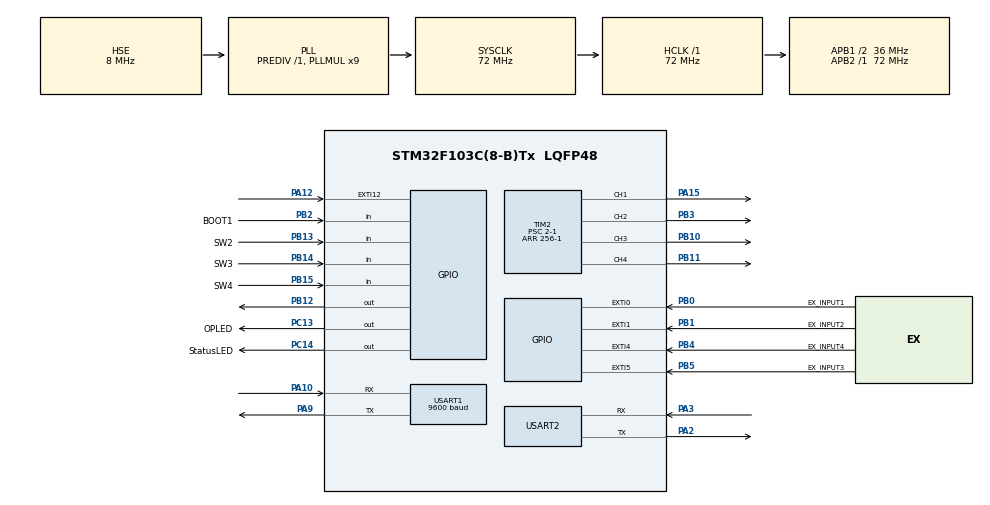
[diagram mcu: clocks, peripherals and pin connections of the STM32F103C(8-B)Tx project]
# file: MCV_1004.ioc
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IWDG.Prescaler=IWDG_PRESCALER_16
Mcu.Family=STM32F1
Mcu.Name=STM32F103C(8-B)Tx
Mcu.Package=LQFP48
NVIC.EXTI0_IRQn=true\:0\:0\:true\:false\:true\:true\:true\:true
NVIC.EXTI15_10_IRQn=true\:0\:0\:false\:false\:true\:true\:true\:true
NVIC.EXTI1_IRQn=true\:0\:0\:true\:false\:true\:true\:true\:true
NVIC.EXTI4_IRQn=true\:0\:0\:false\:false\:true\:true\:true\:true
NVIC.EXTI9_5_IRQn=true\:0\:0\:true\:false\:true\:true\:true\:true
NVIC.PriorityGroup=NVIC_PRIORITYGROUP_4
NVIC.TIM1_UP_IRQn=true\:0\:0\:false\:false\:true\:true\:true\:true
NVIC.TIM2_IRQn=true\:0\:0\:false\:false\:true\:true\:true\:true
NVIC.TIM3_IRQn=true\:0\:0\:false\:false\:true\:true\:true\:true
NVIC.TIM4_IRQn=true\:0\:0\:false\:false\:true\:true\:true\:true
NVIC.USART1_IRQn=true\:0\:0\:false\:false\:true\:true\:true\:true
NVIC.USART2_IRQn=true\:0\:0\:false\:false\:true\:true\:true\:true
PA10.Mode=Asynchronous
PA10.Signal=USART1_RX
PA12.Signal=GPXTI12
PA13.Mode=Serial_Wire
PA13.Signal=SYS_JTMS-SWDIO
PA14.Mode=Serial_Wire
PA14.Signal=SYS_JTCK-SWCLK
PA15.Signal=S_TIM2_CH1_ETR
PA2.Mode=Asynchronous
PA2.Signal=USART2_TX
PA3.Mode=Asynchronous
PA3.Signal=USART2_RX
PA9.Mode=Asynchronous
PA9.Signal=USART1_TX
PB0.GPIO_Label=EX_INPUT1
PB0.GPIO_ModeDefaultEXTI=GPIO_MODE_IT_FALLING
PB0.Signal=GPXTI0
PB1.GPIO_Label=EX_INPUT2
PB1.GPIO_ModeDefaultEXTI=GPIO_MODE_IT_FALLING
PB1.GPIO_PuPd=GPIO_PULLUP
PB1.Signal=GPXTI1
PB10.Signal=S_TIM2_CH3
PB11.Signal=S_TIM2_CH4
PB12.GPIO_PuPd=GPIO_PULLUP
PB12.Signal=GPIO_Output
PB13.GPIO_Label=SW2
PB13.GPIO_PuPd=GPIO_PULLUP
PB13.Signal=GPIO_Input
PB14.GPIO_Label=SW3
PB14.GPIO_PuPd=GPIO_PULLUP
PB14.Signal=GPIO_Input
PB15.GPIO_Label=SW4
PB15.GPIO_PuPd=GPIO_PULLUP
PB15.Signal=GPIO_Input
PB2.GPIO_Label=BOOT1
PB2.GPIO_PuPd=GPIO_PULLDOWN
PB2.Signal=GPIO_Input
PB3.Signal=S_TIM2_CH2
PB4.GPIO_Label=EX_INPUT4
PB4.GPIO_ModeDefaultEXTI=GPIO_MODE_IT_FALLING
PB4.Signal=GPXTI4
PB5.GPIO_Label=EX_INPUT3
PB5.GPIO_ModeDefaultEXTI=GPIO_MODE_IT_FALLING
PB5.GPIO_PuPd=GPIO_PULLUP
PB5.Signal=GPXTI5
PC13-TAMPER-RTC.GPIO_Label=OPLED
PC13-TAMPER-RTC.Signal=GPIO_Output
PC14-OSC32_IN.GPIO_Label=StatusLED
PC14-OSC32_IN.Signal=GPIO_Output
PD0-OSC_IN.Mode=HSE-External-Oscillator
PD0-OSC_IN.Signal=RCC_OSC_IN
PD1-OSC_OUT.Mode=HSE-External-Oscillator
PD1-OSC_OUT.Signal=RCC_OSC_OUT
ProjectManager.HeapSize=0x200
ProjectManager.StackSize=0x400
ProjectManager.TargetToolchain=STM32CubeIDE
RCC.AHBFreq_Value=72000000
RCC.APB1CLKDivider=RCC_HCLK_DIV2
RCC.APB1Freq_Value=36000000
RCC.APB1TimFreq_Value=72000000
RCC.APB2Freq_Value=72000000
RCC.APB2TimFreq_Value=72000000
RCC.HCLKFreq_Value=72000000
RCC.PLLMUL=RCC_PLL_MUL9
RCC.PLLSourceVirtual=RCC_PLLSOURCE_HSE
RCC.SYSCLKFreq_VALUE=72000000
RCC.SYSCLKSource=RCC_SYSCLKSOURCE_PLLCLK
RCC.USBFreq_Value=72000000
SH.S_TIM2_CH1_ETR.0=TIM2_CH1,PWM Generation1 CH1
SH.S_TIM2_CH2.0=TIM2_CH2,PWM Generation2 CH2
SH.S_TIM2_CH3.0=TIM2_CH3,PWM Generation3 CH3
SH.S_TIM2_CH4.0=TIM2_CH4,PWM Generation4 CH4
TIM1.AutoReloadPreload=TIM_AUTORELOAD_PRELOAD_ENABLE
TIM1.Period=10-1
TIM1.Prescaler=72-1
TIM2.Channel-PWM\ Generation1\ CH1=TIM_CHANNEL_1
TIM2.Channel-PWM\ Generation2\ CH2=TIM_CHANNEL_2
TIM2.Channel-PWM\ Generation3\ CH3=TIM_CHANNEL_3
TIM2.Channel-PWM\ Generation4\ CH4=TIM_CHANNEL_4
TIM2.OCFastMode_PWM-PWM\ Generation1\ CH1=TIM_OCFAST_ENABLE
TIM2.OCFastMode_PWM-PWM\ Generation2\ CH2=TIM_OCFAST_ENABLE
TIM2.OCFastMode_PWM-PWM\ Generation3\ CH3=TIM_OCFAST_ENABLE
TIM2.OCFastMode_PWM-PWM\ Generation4\ CH4=TIM_OCFAST_ENABLE
TIM2.Period=256-1
TIM2.Prescaler=2-1
TIM2.Pulse-PWM\ Generation1\ CH1=500
TIM2.Pulse-PWM\ Generation2\ CH2=500
TIM2.Pulse-PWM\ Generation3\ CH3=500
TIM2.Pulse-PWM\ Generation4\ CH4=500
TIM2.TIM_MasterOutputTrigger=TIM_TRGO_UPDATE
TIM3.Period=10-1
TIM3.Prescaler=72-1
TIM4.Period=10-1
TIM4.Prescaler=72-1
USART1.BaudRate=9600
USART1.VirtualMode=VM_ASYNC
USART2.VirtualMode=VM_ASYNC
VP_IWDG_VS_IWDG.Mode=IWDG_Activate
VP_TIM1_VS_ClockSourceINT.Mode=Internal
VP_TIM2_VS_ClockSourceINT.Mode=Internal
VP_TIM3_VS_ClockSourceINT.Mode=Internal
VP_TIM4_VS_ClockSourceINT.Mode=Internal
board=custom

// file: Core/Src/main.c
/* USER CODE BEGIN Header */
/**
  ******************************************************************************
  * @file           : main.c
  * @brief          : Main program body
  ******************************************************************************
  * @attention
  *
  * Copyright (c) 2024 STMicroelectronics.
  * All rights reserved.
  *
  * This software is licensed under terms that can be found in the LICENSE file
  * in the root directory of this software component.
  * If no LICENSE file comes with this software, it is provided AS-IS.
  *
  ******************************************************************************
  */
/* USER CODE END Header */
#include "main.h"

/* USER CODE BEGIN Includes */
#include "apps.h"
#include "uart_proc.h"
#include "timer_ctrl.h"
/* USER CODE END Includes */

/* USER CODE BEGIN PTD */
typedef  void (*pFunction)(void);
/* USER CODE END PTD */

/* USER CODE BEGIN PD */
#define SYSTEMBOOT_ADDR		0x1FFFF000
/* USER CODE END PD */

/* USER CODE BEGIN PM */
#if DAEGON_MODEL
//#define VERSION 1.0			// First Release
#define VERSION 2.0			// Final Release
#else
//#define VERSION 1.0		// First Release
//#define VERSION 1.1			// 1.pc control uart modify 115200->9600 . 2. pc slide bar function fixed
//#define VERSION 1.2			// Resolve jump System boot loader
//#define VERSION 1.3			// modify strobe test mode & Final Release
#define VERSION 1.4			// watchdog enable (1.6sec) & Request PWM Value initialize
#endif
/* USER CODE END PM */

IWDG_HandleTypeDef hiwdg;

TIM_HandleTypeDef htim1;
TIM_HandleTypeDef htim2;
TIM_HandleTypeDef htim3;
TIM_HandleTypeDef htim4;

UART_HandleTypeDef huart1;
UART_HandleTypeDef huart2;

void SystemClock_Config(void);
static void MX_GPIO_Init(void);
static void MX_TIM2_Init(void);
static void MX_USART1_UART_Init(void);
static void MX_USART2_UART_Init(void);
static void MX_TIM1_Init(void);
static void MX_TIM3_Init(void);
static void MX_TIM4_Init(void);
static void MX_IWDG_Init(void);

/* USER CODE BEGIN 0 */
static void Delay_us(volatile uint32_t microseconds)
{
  uint32_t clk_cycle_start = DWT->CYCCNT;
  microseconds *= (HAL_RCC_GetHCLKFreq() / 1000000);
  while ((DWT->CYCCNT - clk_cycle_start) < microseconds);
}

uint32_t Delay_Init(void)
{
	CoreDebug->DEMCR &= ~CoreDebug_DEMCR_TRCENA_Msk; // ~0x01000000;
	CoreDebug->DEMCR |=  CoreDebug_DEMCR_TRCENA_Msk; // 0x01000000;
	DWT->CTRL &= ~DWT_CTRL_CYCCNTENA_Msk; //~0x00000001;
	DWT->CTRL |=  DWT_CTRL_CYCCNTENA_Msk; //0x00000001;
	DWT->CYCCNT = 0;
	asm volatile("NOP");
	asm volatile("NOP");
	asm volatile("NOP");
	if(DWT->CYCCNT)
	{
		return 0;
	}
	else
	{
		return 1; /*clock cycle counter not started*/
	}
}

void HardwareInitailized(void)
{
	Delay_Init();
	Delay_us(10);
}

void JumpToBootloader(void)
{
	volatile uint32_t JumpAddress = *(__IO uint32_t*)(SYSTEMBOOT_ADDR+4);
	pFunction Jump_To_Application = (pFunction)JumpAddress;

	HAL_GPIO_WritePin(BOOT1_GPIO_Port, BOOT1_Pin, GPIO_PIN_RESET);
	HAL_Delay(1);

    HAL_UART_DeInit(&huart2);
    HAL_UART_DeInit(&huart1);
    HAL_UART_MspDeInit(&huart2);
    HAL_UART_MspDeInit(&huart1);
    HAL_RCC_DeInit();

#if 0
    HAL_SuspendTick();
    HAL_DeInit();
#else
    SysTick->CTRL = 0;
    SysTick->LOAD = 0;
    SysTick->VAL = 0;
#endif
//    __disable_irq();

    __set_MSP(*(__IO uint32_t *)SYSTEMBOOT_ADDR);
    Jump_To_Application();
}

/* USER CODE END 0 */

int main(void)
{

  /* USER CODE BEGIN 1 */
#if DAEGON_MODEL
	int error;
#endif
  /* USER CODE END 1 */

  /* MCU Configuration--------------------------------------------------------*/

  /* Reset of all peripherals, Initializes the Flash interface and the Systick. */
  HAL_Init();

  /* Configure the system clock */
  SystemClock_Config();

  /* Initialize all configured peripherals */
  MX_GPIO_Init();
  MX_TIM2_Init();
  MX_USART1_UART_Init();
  MX_USART2_UART_Init();
  MX_TIM1_Init();
  MX_TIM3_Init();
  MX_TIM4_Init();
  MX_IWDG_Init();
  /* USER CODE BEGIN 2 */
  uart_proc_init();
  timer_ctrl_init();
  HardwareInitailized();
  apps_dev_init();
#if DAEGON_MODEL // already start..
  error = HAL_TIM_PWM_Start(&htim2, TIM_CHANNEL_1);
  if(error !=HAL_OK){
	  Printf("PWM CH1 Start Error!![%d]\r\n", error);
  }
  error = HAL_TIM_PWM_Start(&htim2, TIM_CHANNEL_2);
  if(error != HAL_OK){
	  Printf("PWM CH2 Start Error!![%d]\r\n", error);
  }
  error = HAL_TIM_PWM_Start(&htim2, TIM_CHANNEL_3);
  if(error != HAL_OK){
	  Printf("PWM CH3 Start Error!![%d]\r\n", error);
  }
  error = HAL_TIM_PWM_Start(&htim2, TIM_CHANNEL_4);
  if(error != HAL_OK){
	  Printf("PWM CH4 Start Error!![%d]\r\n", error);
  }
#endif
  /* USER CODE END 2 */

  /* Infinite loop */
  /* USER CODE BEGIN WHILE */
  // already start pwm_out in apps_dev_init()
//	HAL_TIM_PWM_Start(&htim2, TIM_CHANNEL_1);
//	HAL_TIM_PWM_Start(&htim2, TIM_CHANNEL_2);
//	HAL_TIM_PWM_Start(&htim2, TIM_CHANNEL_3);
//	HAL_TIM_PWM_Start(&htim2, TIM_CHANNEL_4);
  while (1)
  {
	  apps_proc();
    /* USER CODE END WHILE */

    /* USER CODE BEGIN 3 */
  }
  return 0;
  /* USER CODE END 3 */
}

void SystemClock_Config(void)
{
  RCC_OscInitTypeDef RCC_OscInitStruct = {0};
  RCC_ClkInitTypeDef RCC_ClkInitStruct = {0};

  /** Initializes the RCC Oscillators according to the specified parameters
  * in the RCC_OscInitTypeDef structure.
  */
  RCC_OscInitStruct.OscillatorType = RCC_OSCILLATORTYPE_LSI|RCC_OSCILLATORTYPE_HSE;
  RCC_OscInitStruct.HSEState = RCC_HSE_ON;
  RCC_OscInitStruct.HSEPredivValue = RCC_HSE_PREDIV_DIV1;
  RCC_OscInitStruct.HSIState = RCC_HSI_ON;
  RCC_OscInitStruct.LSIState = RCC_LSI_ON;
  RCC_OscInitStruct.PLL.PLLState = RCC_PLL_ON;
  RCC_OscInitStruct.PLL.PLLSource = RCC_PLLSOURCE_HSE;
  RCC_OscInitStruct.PLL.PLLMUL = RCC_PLL_MUL9;
  if (HAL_RCC_OscConfig(&RCC_OscInitStruct) != HAL_OK)
  {
    Error_Handler();
  }

  /** Initializes the CPU, AHB and APB buses clocks
  */
  RCC_ClkInitStruct.ClockType = RCC_CLOCKTYPE_HCLK|RCC_CLOCKTYPE_SYSCLK
                              |RCC_CLOCKTYPE_PCLK1|RCC_CLOCKTYPE_PCLK2;
  RCC_ClkInitStruct.SYSCLKSource = RCC_SYSCLKSOURCE_PLLCLK;
  RCC_ClkInitStruct.AHBCLKDivider = RCC_SYSCLK_DIV1;
  RCC_ClkInitStruct.APB1CLKDivider = RCC_HCLK_DIV2;
  RCC_ClkInitStruct.APB2CLKDivider = RCC_HCLK_DIV1;

  if (HAL_RCC_ClockConfig(&RCC_ClkInitStruct, FLASH_LATENCY_2) != HAL_OK)
  {
    Error_Handler();
  }
}

static void MX_IWDG_Init(void)
{

  hiwdg.Instance = IWDG;
  hiwdg.Init.Prescaler = IWDG_PRESCALER_16;
  hiwdg.Init.Reload = 4095;
  if (HAL_IWDG_Init(&hiwdg) != HAL_OK)
  {
    Error_Handler();
  }

}

static void MX_TIM1_Init(void)
{

  TIM_ClockConfigTypeDef sClockSourceConfig = {0};
  TIM_MasterConfigTypeDef sMasterConfig = {0};

  htim1.Instance = TIM1;
  htim1.Init.Prescaler = 72-1;
  htim1.Init.CounterMode = TIM_COUNTERMODE_UP;
  htim1.Init.Period = 10-1;
  htim1.Init.ClockDivision = TIM_CLOCKDIVISION_DIV1;
  htim1.Init.RepetitionCounter = 0;
  htim1.Init.AutoReloadPreload = TIM_AUTORELOAD_PRELOAD_ENABLE;
  if (HAL_TIM_Base_Init(&htim1) != HAL_OK)
  {
    Error_Handler();
  }
  sClockSourceConfig.ClockSource = TIM_CLOCKSOURCE_INTERNAL;
  if (HAL_TIM_ConfigClockSource(&htim1, &sClockSourceConfig) != HAL_OK)
  {
    Error_Handler();
  }
  sMasterConfig.MasterOutputTrigger = TIM_TRGO_RESET;
  sMasterConfig.MasterSlaveMode = TIM_MASTERSLAVEMODE_DISABLE;
  if (HAL_TIMEx_MasterConfigSynchronization(&htim1, &sMasterConfig) != HAL_OK)
  {
    Error_Handler();
  }

}

static void MX_TIM2_Init(void)
{

  TIM_ClockConfigTypeDef sClockSourceConfig = {0};
  TIM_MasterConfigTypeDef sMasterConfig = {0};
  TIM_OC_InitTypeDef sConfigOC = {0};

  /* USER CODE BEGIN TIM2_Init 1 */
#if 0
  // PWM 10Khz
  htim2.Init.Prescaler = 72-1;
  htim2.Init.Period = 100-1;
  //PWM 140
  htim2.Init.Prescaler = 2-1;
  htim2.Init.Period = 256-1;
#endif
  /* USER CODE END TIM2_Init 1 */
  htim2.Instance = TIM2;
  htim2.Init.Prescaler = 2-1;
  htim2.Init.CounterMode = TIM_COUNTERMODE_UP;
  htim2.Init.Period = 256-1;
  htim2.Init.ClockDivision = TIM_CLOCKDIVISION_DIV1;
  htim2.Init.AutoReloadPreload = TIM_AUTORELOAD_PRELOAD_DISABLE;
  if (HAL_TIM_Base_Init(&htim2) != HAL_OK)
  {
    Error_Handler();
  }
  sClockSourceConfig.ClockSource = TIM_CLOCKSOURCE_INTERNAL;
  if (HAL_TIM_ConfigClockSource(&htim2, &sClockSourceConfig) != HAL_OK)
  {
    Error_Handler();
  }
  if (HAL_TIM_PWM_Init(&htim2) != HAL_OK)
  {
    Error_Handler();
  }
  sMasterConfig.MasterOutputTrigger = TIM_TRGO_UPDATE;
  sMasterConfig.MasterSlaveMode = TIM_MASTERSLAVEMODE_DISABLE;
  if (HAL_TIMEx_MasterConfigSynchronization(&htim2, &sMasterConfig) != HAL_OK)
  {
    Error_Handler();
  }
  sConfigOC.OCMode = TIM_OCMODE_PWM1;
  sConfigOC.Pulse = 500;
  sConfigOC.OCPolarity = TIM_OCPOLARITY_HIGH;
  sConfigOC.OCFastMode = TIM_OCFAST_ENABLE;
  if (HAL_TIM_PWM_ConfigChannel(&htim2, &sConfigOC, TIM_CHANNEL_1) != HAL_OK)
  {
    Error_Handler();
  }
  if (HAL_TIM_PWM_ConfigChannel(&htim2, &sConfigOC, TIM_CHANNEL_2) != HAL_OK)
  {
    Error_Handler();
  }
  if (HAL_TIM_PWM_ConfigChannel(&htim2, &sConfigOC, TIM_CHANNEL_3) != HAL_OK)
  {
    Error_Handler();
  }
  if (HAL_TIM_PWM_ConfigChannel(&htim2, &sConfigOC, TIM_CHANNEL_4) != HAL_OK)
  {
    Error_Handler();
  }
  HAL_TIM_MspPostInit(&htim2);

}

static void MX_TIM3_Init(void)
{

  TIM_ClockConfigTypeDef sClockSourceConfig = {0};
  TIM_MasterConfigTypeDef sMasterConfig = {0};

  htim3.Instance = TIM3;
  htim3.Init.Prescaler = 72-1;
  htim3.Init.CounterMode = TIM_COUNTERMODE_UP;
  htim3.Init.Period = 10-1;
  htim3.Init.ClockDivision = TIM_CLOCKDIVISION_DIV1;
  htim3.Init.AutoReloadPreload = TIM_AUTORELOAD_PRELOAD_DISABLE;
  if (HAL_TIM_Base_Init(&htim3) != HAL_OK)
  {
    Error_Handler();
  }
  sClockSourceConfig.ClockSource = TIM_CLOCKSOURCE_INTERNAL;
  if (HAL_TIM_ConfigClockSource(&htim3, &sClockSourceConfig) != HAL_OK)
  {
    Error_Handler();
  }
  sMasterConfig.MasterOutputTrigger = TIM_TRGO_RESET;
  sMasterConfig.MasterSlaveMode = TIM_MASTERSLAVEMODE_DISABLE;
  if (HAL_TIMEx_MasterConfigSynchronization(&htim3, &sMasterConfig) != HAL_OK)
  {
    Error_Handler();
  }

}

static void MX_TIM4_Init(void)
{

  TIM_ClockConfigTypeDef sClockSourceConfig = {0};
  TIM_MasterConfigTypeDef sMasterConfig = {0};

  htim4.Instance = TIM4;
  htim4.Init.Prescaler = 72-1;
  htim4.Init.CounterMode = TIM_COUNTERMODE_UP;
  htim4.Init.Period = 10-1;
  htim4.Init.ClockDivision = TIM_CLOCKDIVISION_DIV1;
  htim4.Init.AutoReloadPreload = TIM_AUTORELOAD_PRELOAD_DISABLE;
  if (HAL_TIM_Base_Init(&htim4) != HAL_OK)
  {
    Error_Handler();
  }
  sClockSourceConfig.ClockSource = TIM_CLOCKSOURCE_INTERNAL;
  if (HAL_TIM_ConfigClockSource(&htim4, &sClockSourceConfig) != HAL_OK)
  {
    Error_Handler();
  }
  sMasterConfig.MasterOutputTrigger = TIM_TRGO_RESET;
  sMasterConfig.MasterSlaveMode = TIM_MASTERSLAVEMODE_DISABLE;
  if (HAL_TIMEx_MasterConfigSynchronization(&htim4, &sMasterConfig) != HAL_OK)
  {
    Error_Handler();
  }

}

static void MX_USART1_UART_Init(void)
{

  /* USER CODE BEGIN USART1_Init 1 */
#if 1
	huart1.Init.BaudRate = 9600;
#endif
  /* USER CODE END USART1_Init 1 */
  huart1.Instance = USART1;
  huart1.Init.BaudRate = 9600;
  huart1.Init.WordLength = UART_WORDLENGTH_8B;
  huart1.Init.StopBits = UART_STOPBITS_1;
  huart1.Init.Parity = UART_PARITY_NONE;
  huart1.Init.Mode = UART_MODE_TX_RX;
  huart1.Init.HwFlowCtl = UART_HWCONTROL_NONE;
  huart1.Init.OverSampling = UART_OVERSAMPLING_16;
  if (HAL_UART_Init(&huart1) != HAL_OK)
  {
    Error_Handler();
  }

}

static void MX_USART2_UART_Init(void)
{

  huart2.Instance = USART2;
  huart2.Init.BaudRate = 115200;
  huart2.Init.WordLength = UART_WORDLENGTH_8B;
  huart2.Init.StopBits = UART_STOPBITS_1;
  huart2.Init.Parity = UART_PARITY_NONE;
  huart2.Init.Mode = UART_MODE_TX_RX;
  huart2.Init.HwFlowCtl = UART_HWCONTROL_NONE;
  huart2.Init.OverSampling = UART_OVERSAMPLING_16;
  if (HAL_UART_Init(&huart2) != HAL_OK)
  {
    Error_Handler();
  }

}

static void MX_GPIO_Init(void)
{
  GPIO_InitTypeDef GPIO_InitStruct = {0};

  /* GPIO Ports Clock Enable */
  __HAL_RCC_GPIOC_CLK_ENABLE();
  __HAL_RCC_GPIOD_CLK_ENABLE();
  __HAL_RCC_GPIOA_CLK_ENABLE();
  __HAL_RCC_GPIOB_CLK_ENABLE();

  /*Configure GPIO pin Output Level */
  HAL_GPIO_WritePin(GPIOC, OPLED_Pin|StatusLED_Pin, GPIO_PIN_RESET);

  /*Configure GPIO pin Output Level */
  HAL_GPIO_WritePin(GPIOB, GPIO_PIN_12, GPIO_PIN_RESET);

  /*Configure GPIO pins : OPLED_Pin StatusLED_Pin */
  GPIO_InitStruct.Pin = OPLED_Pin|StatusLED_Pin;
  GPIO_InitStruct.Mode = GPIO_MODE_OUTPUT_PP;
  GPIO_InitStruct.Pull = GPIO_NOPULL;
  GPIO_InitStruct.Speed = GPIO_SPEED_FREQ_LOW;
  HAL_GPIO_Init(GPIOC, &GPIO_InitStruct);

  /*Configure GPIO pins : EX_INPUT1_Pin EX_INPUT4_Pin */
  GPIO_InitStruct.Pin = EX_INPUT1_Pin|EX_INPUT4_Pin;
  GPIO_InitStruct.Mode = GPIO_MODE_IT_FALLING;
  GPIO_InitStruct.Pull = GPIO_NOPULL;
  HAL_GPIO_Init(GPIOB, &GPIO_InitStruct);

  /*Configure GPIO pins : EX_INPUT2_Pin EX_INPUT3_Pin */
  GPIO_InitStruct.Pin = EX_INPUT2_Pin|EX_INPUT3_Pin;
  GPIO_InitStruct.Mode = GPIO_MODE_IT_FALLING;
  GPIO_InitStruct.Pull = GPIO_PULLUP;
  HAL_GPIO_Init(GPIOB, &GPIO_InitStruct);

  /*Configure GPIO pin : BOOT1_Pin */
  GPIO_InitStruct.Pin = BOOT1_Pin;
  GPIO_InitStruct.Mode = GPIO_MODE_INPUT;
  GPIO_InitStruct.Pull = GPIO_PULLDOWN;
  HAL_GPIO_Init(BOOT1_GPIO_Port, &GPIO_InitStruct);

  /*Configure GPIO pin : PB12 */
  GPIO_InitStruct.Pin = GPIO_PIN_12;
  GPIO_InitStruct.Mode = GPIO_MODE_OUTPUT_PP;
  GPIO_InitStruct.Pull = GPIO_PULLUP;
  GPIO_InitStruct.Speed = GPIO_SPEED_FREQ_LOW;
  HAL_GPIO_Init(GPIOB, &GPIO_InitStruct);

  /*Configure GPIO pins : SW2_Pin SW3_Pin SW4_Pin */
  GPIO_InitStruct.Pin = SW2_Pin|SW3_Pin|SW4_Pin;
  GPIO_InitStruct.Mode = GPIO_MODE_INPUT;
  GPIO_InitStruct.Pull = GPIO_PULLUP;
  HAL_GPIO_Init(GPIOB, &GPIO_InitStruct);

  /*Configure GPIO pin : PA12 */
  GPIO_InitStruct.Pin = GPIO_PIN_12;
  GPIO_InitStruct.Mode = GPIO_MODE_IT_RISING;
  GPIO_InitStruct.Pull = GPIO_NOPULL;
  HAL_GPIO_Init(GPIOA, &GPIO_InitStruct);

  /* EXTI interrupt init*/
  HAL_NVIC_SetPriority(EXTI0_IRQn, 0, 0);
  HAL_NVIC_EnableIRQ(EXTI0_IRQn);

  HAL_NVIC_SetPriority(EXTI1_IRQn, 0, 0);
  HAL_NVIC_EnableIRQ(EXTI1_IRQn);

  HAL_NVIC_SetPriority(EXTI4_IRQn, 0, 0);
  HAL_NVIC_EnableIRQ(EXTI4_IRQn);

  HAL_NVIC_SetPriority(EXTI9_5_IRQn, 0, 0);
  HAL_NVIC_EnableIRQ(EXTI9_5_IRQn);

  HAL_NVIC_SetPriority(EXTI15_10_IRQn, 0, 0);
  HAL_NVIC_EnableIRQ(EXTI15_10_IRQn);

}

void Error_Handler(void)
{
  __disable_irq();
  while (1)
  {
  }
}
